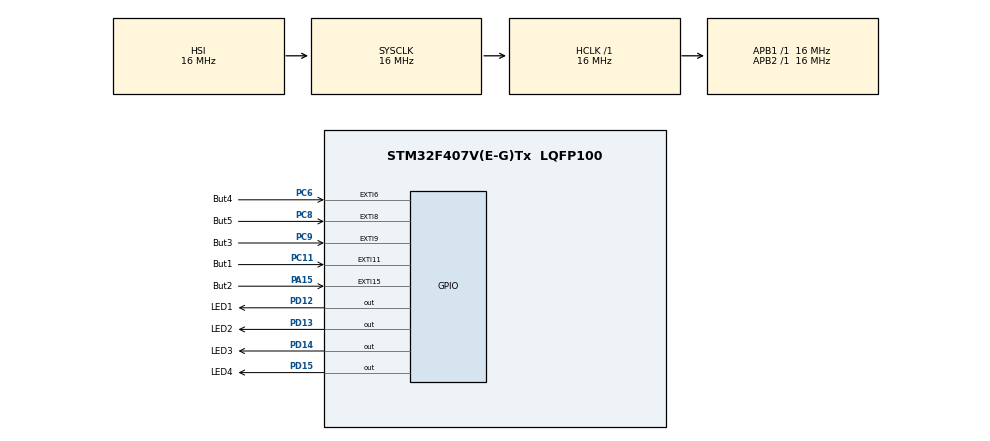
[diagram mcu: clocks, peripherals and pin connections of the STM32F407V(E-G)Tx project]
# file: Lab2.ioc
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Mcu.Family=STM32F4
Mcu.Name=STM32F407V(E-G)Tx
Mcu.Package=LQFP100
NVIC.EXTI15_10_IRQn=true\:0\:0\:false\:false\:true\:true\:true
NVIC.EXTI9_5_IRQn=true\:0\:0\:false\:false\:true\:true\:true
NVIC.PriorityGroup=NVIC_PRIORITYGROUP_4
PA15.GPIO_Label=But2
PA15.GPIO_ModeDefaultEXTI=GPIO_MODE_IT_FALLING
PA15.Signal=GPXTI15
PC11.GPIO_Label=But1
PC11.GPIO_ModeDefaultEXTI=GPIO_MODE_IT_FALLING
PC11.Signal=GPXTI11
PC6.GPIO_Label=But4
PC6.GPIO_ModeDefaultEXTI=GPIO_MODE_IT_FALLING
PC6.Signal=GPXTI6
PC8.GPIO_Label=But5
PC8.GPIO_ModeDefaultEXTI=GPIO_MODE_IT_FALLING
PC8.Signal=GPXTI8
PC9.GPIO_Label=But3
PC9.GPIO_ModeDefaultEXTI=GPIO_MODE_IT_FALLING
PC9.Signal=GPXTI9
PD12.GPIO_Label=LED1
PD12.PinState=GPIO_PIN_RESET
PD12.Signal=GPIO_Output
PD13.GPIO_Label=LED2
PD13.Signal=GPIO_Output
PD14.GPIO_Label=LED3
PD14.Signal=GPIO_Output
PD15.GPIO_Label=LED4
PD15.Signal=GPIO_Output
ProjectManager.HeapSize=0x200
ProjectManager.StackSize=0x400
ProjectManager.TargetToolchain=STM32CubeIDE
RCC.AHBFreq_Value=16000000
RCC.APB1Freq_Value=16000000
RCC.APB2Freq_Value=16000000
RCC.CortexFreq_Value=16000000
RCC.HSE_VALUE=25000000
RCC.HSI_VALUE=16000000
RCC.LSE_VALUE=32768
RCC.SYSCLKFreq_VALUE=16000000
RCC.VCOOutputFreq_Value=192000000
board=custom

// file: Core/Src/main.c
/* USER CODE BEGIN Header */
/**
  ******************************************************************************
  * @file           : main.c
  * @brief          : Main program body
  ******************************************************************************
  * @attention
  *
  * <h2><center>&copy; Copyright (c) 2021 STMicroelectronics.
  * All rights reserved.</center></h2>
  *
  * This software component is licensed by ST under BSD 3-Clause license,
  * the "License"; You may not use this file except in compliance with the
  * License. You may obtain a copy of the License at:
  *                        opensource.org/licenses/BSD-3-Clause
  *
  ******************************************************************************
  */
/* USER CODE END Header */
#include "main.h"

void SystemClock_Config(void);
static void MX_GPIO_Init(void);

/* USER CODE BEGIN 0 */

#define BLINK_CYCLES_QUANTITY 1

uint16_t delay = 500;
uint8_t pair_blink_start = 0;
uint8_t cross_blink_start = 0;

void HAL_GPIO_EXTI_Callback(uint16_t GPIO_Pin){

	    	  switch(GPIO_Pin){

	    	  case But1_Pin:
				  cross_blink_start=!cross_blink_start;
				  break;

	    	  case But2_Pin:
	    		  cross_blink_start=0;
	    		  cross_blink_start=0;
				  break;

	    	  case But3_Pin:
	    		  pair_blink_start=!pair_blink_start;
				  break;

	    	  case But4_Pin:
	    		  if (delay>100){
	    			  delay-=100;
	    		  }

	    		  else if (delay<=100){
	    			  delay-=10;
	    		  }
	    		  else if (delay<=10){
	    			  __NOP(); //maximum blinking frequency
	    		  }
	    		  break;

	    	  case But5_Pin:
	    		  delay+=250;
	    		  break;

	    	  default:
	    		  __NOP();
	    		  break;
	    	  }
	    }

/* USER CODE END 0 */

int main(void)
{

  /* MCU Configuration--------------------------------------------------------*/

  /* Reset of all peripherals, Initializes the Flash interface and the Systick. */
  HAL_Init();

  /* Configure the system clock */
  SystemClock_Config();

  /* Initialize all configured peripherals */
  MX_GPIO_Init();
  /* USER CODE BEGIN 2 */

  void pair_blink(uint16_t *array, uint16_t array_len,uint16_t delay){
	  for (uint16_t i=0; i<BLINK_CYCLES_QUANTITY; i++){
		  for (uint16_t j=0; j<array_len; j++){
			  HAL_GPIO_WritePin(GPIOD,array[j],GPIO_PIN_SET);
			  HAL_Delay(delay);
			  HAL_GPIO_WritePin(GPIOD,array[j],GPIO_PIN_RESET);
		}
	  }
 }
	  uint16_t pins_pair_blink[] = {LED1_Pin|LED3_Pin, LED2_Pin|LED4_Pin};

  void cross_blink(uint16_t *array,uint16_t array_len,uint16_t delay){
	  for (uint16_t i=0; i<BLINK_CYCLES_QUANTITY; i++){
		  for(uint16_t j=0;j<array_len;j++){
			  HAL_GPIO_WritePin(GPIOD,array[j],GPIO_PIN_SET);
			  HAL_Delay(delay);
		  }
		  HAL_GPIO_WritePin(GPIOD,LED1_Pin|LED2_Pin|LED3_Pin|LED4_Pin,GPIO_PIN_RESET);
		  HAL_Delay(delay);
	  }
  }

  	  uint16_t pins_cross_blink[] = {LED1_Pin,LED3_Pin,LED2_Pin,LED4_Pin};

  /* USER CODE END 2 */

  /* Infinite loop */
  /* USER CODE BEGIN WHILE */

  while (1)
  {
	  if(pair_blink_start){
		  	  pair_blink(pins_pair_blink, sizeof(pins_pair_blink)/sizeof(pins_pair_blink[0]),delay);
	  }

	  if(cross_blink_start){
		  cross_blink(pins_cross_blink,sizeof(pins_cross_blink)/sizeof(pins_cross_blink[0]),delay);
	  }

    /* USER CODE END WHILE */

  }
}

void SystemClock_Config(void)
{
  RCC_OscInitTypeDef RCC_OscInitStruct = {0};
  RCC_ClkInitTypeDef RCC_ClkInitStruct = {0};

  /** Configure the main internal regulator output voltage
  */
  __HAL_RCC_PWR_CLK_ENABLE();
  __HAL_PWR_VOLTAGESCALING_CONFIG(PWR_REGULATOR_VOLTAGE_SCALE1);
  /** Initializes the RCC Oscillators according to the specified parameters
  * in the RCC_OscInitTypeDef structure.
  */
  RCC_OscInitStruct.OscillatorType = RCC_OSCILLATORTYPE_HSI;
  RCC_OscInitStruct.HSIState = RCC_HSI_ON;
  RCC_OscInitStruct.HSICalibrationValue = RCC_HSICALIBRATION_DEFAULT;
  RCC_OscInitStruct.PLL.PLLState = RCC_PLL_NONE;
  if (HAL_RCC_OscConfig(&RCC_OscInitStruct) != HAL_OK)
  {
    Error_Handler();
  }
  /** Initializes the CPU, AHB and APB buses clocks
  */
  RCC_ClkInitStruct.ClockType = RCC_CLOCKTYPE_HCLK|RCC_CLOCKTYPE_SYSCLK
                              |RCC_CLOCKTYPE_PCLK1|RCC_CLOCKTYPE_PCLK2;
  RCC_ClkInitStruct.SYSCLKSource = RCC_SYSCLKSOURCE_HSI;
  RCC_ClkInitStruct.AHBCLKDivider = RCC_SYSCLK_DIV1;
  RCC_ClkInitStruct.APB1CLKDivider = RCC_HCLK_DIV1;
  RCC_ClkInitStruct.APB2CLKDivider = RCC_HCLK_DIV1;

  if (HAL_RCC_ClockConfig(&RCC_ClkInitStruct, FLASH_LATENCY_0) != HAL_OK)
  {
    Error_Handler();
  }
}

static void MX_GPIO_Init(void)
{
  GPIO_InitTypeDef GPIO_InitStruct = {0};

  /* GPIO Ports Clock Enable */
  __HAL_RCC_GPIOD_CLK_ENABLE();
  __HAL_RCC_GPIOC_CLK_ENABLE();
  __HAL_RCC_GPIOA_CLK_ENABLE();

  /*Configure GPIO pin Output Level */
  HAL_GPIO_WritePin(GPIOD, LED1_Pin|LED2_Pin|LED3_Pin|LED4_Pin, GPIO_PIN_RESET);

  /*Configure GPIO pins : LED1_Pin LED2_Pin LED3_Pin LED4_Pin */
  GPIO_InitStruct.Pin = LED1_Pin|LED2_Pin|LED3_Pin|LED4_Pin;
  GPIO_InitStruct.Mode = GPIO_MODE_OUTPUT_PP;
  GPIO_InitStruct.Pull = GPIO_NOPULL;
  GPIO_InitStruct.Speed = GPIO_SPEED_FREQ_LOW;
  HAL_GPIO_Init(GPIOD, &GPIO_InitStruct);

  /*Configure GPIO pins : But4_Pin But5_Pin But3_Pin But1_Pin */
  GPIO_InitStruct.Pin = But4_Pin|But5_Pin|But3_Pin|But1_Pin;
  GPIO_InitStruct.Mode = GPIO_MODE_IT_FALLING;
  GPIO_InitStruct.Pull = GPIO_NOPULL;
  HAL_GPIO_Init(GPIOC, &GPIO_InitStruct);

  /*Configure GPIO pin : But2_Pin */
  GPIO_InitStruct.Pin = But2_Pin;
  GPIO_InitStruct.Mode = GPIO_MODE_IT_FALLING;
  GPIO_InitStruct.Pull = GPIO_NOPULL;
  HAL_GPIO_Init(But2_GPIO_Port, &GPIO_InitStruct);

  /* EXTI interrupt init*/
  HAL_NVIC_SetPriority(EXTI9_5_IRQn, 0, 0);
  HAL_NVIC_EnableIRQ(EXTI9_5_IRQn);

  HAL_NVIC_SetPriority(EXTI15_10_IRQn, 0, 0);
  HAL_NVIC_EnableIRQ(EXTI15_10_IRQn);

}

void Error_Handler(void)
{
  __disable_irq();
  while (1)
  {
  }
}

/************************ (C) COPYRIGHT STMicroelectronics *****END OF FILE****/
